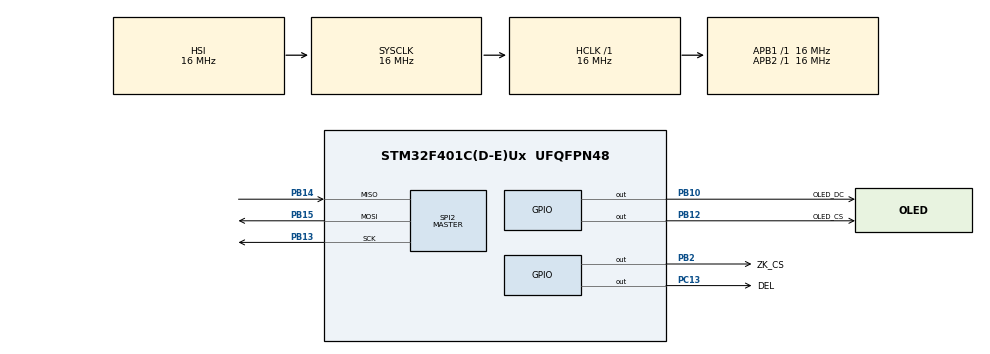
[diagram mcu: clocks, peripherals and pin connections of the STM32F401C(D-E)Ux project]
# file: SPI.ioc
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Mcu.Family=STM32F4
Mcu.Name=STM32F401C(D-E)Ux
Mcu.Package=UFQFPN48
NVIC.PriorityGroup=NVIC_PRIORITYGROUP_4
PB10.GPIO_Label=OLED_DC
PB10.Signal=GPIO_Output
PB12.GPIO_Label=OLED_CS
PB12.Signal=GPIO_Output
PB13.Mode=Full_Duplex_Master
PB13.Signal=SPI2_SCK
PB14.Mode=Full_Duplex_Master
PB14.Signal=SPI2_MISO
PB15.Mode=Full_Duplex_Master
PB15.Signal=SPI2_MOSI
PB2.GPIO_Label=ZK_CS
PB2.Signal=GPIO_Output
PC13-ANTI_TAMP.GPIO_Label=DEL
PC13-ANTI_TAMP.Signal=GPIO_Output
ProjectManager.HeapSize=0x200
ProjectManager.StackSize=0x400
ProjectManager.TargetToolchain=Makefile
RCC.AHBFreq_Value=16000000
RCC.APB1Freq_Value=16000000
RCC.APB2Freq_Value=16000000
RCC.CortexFreq_Value=16000000
RCC.HSE_VALUE=25000000
RCC.HSI_VALUE=16000000
RCC.LSE_VALUE=32768
RCC.SYSCLKFreq_VALUE=16000000
RCC.VCOOutputFreq_Value=192000000
SPI2.Direction=SPI_DIRECTION_2LINES
SPI2.Mode=SPI_MODE_MASTER
SPI2.VirtualType=VM_MASTER
board=custom

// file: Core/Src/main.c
/* USER CODE BEGIN Header */
/**
 ******************************************************************************
 * @file           : main.c
 * @brief          : Main program body
 ******************************************************************************
 * @attention
 *
 * Copyright (c) 2022 STMicroelectronics.
 * All rights reserved.
 *
 * This software is licensed under terms that can be found in the LICENSE file
 * in the root directory of this software component.
 * If no LICENSE file comes with this software, it is provided AS-IS.
 *
 ******************************************************************************
 */
/* USER CODE END Header */
#include "main.h"
#include "spi.h"
#include "gpio.h"

void SystemClock_Config(void);

/* USER CODE BEGIN 0 */
void transmit(uint8_t pData)
{
  HAL_SPI_Transmit(&hspi2, &pData, 8, 100);
}
/* USER CODE END 0 */

int main(void)
{

  /* MCU Configuration--------------------------------------------------------*/

  /* Reset of all peripherals, Initializes the Flash interface and the Systick. */
  HAL_Init();

  /* Configure the system clock */
  SystemClock_Config();

  /* Initialize all configured peripherals */
  MX_GPIO_Init();
  MX_SPI2_Init();
  /* USER CODE BEGIN 2 */
  InitGraph();
  // Resize(bmp,63,64);
  // OLED_FILL(Sbmp);
  OLED_Rect1(0, 0, 127, 63);
  OLED_Circle(25, 32, 20);
  OLED_Circle(25, 32, 3);
  OLED_UpdateScreen();
  /* USER CODE END 2 */

  /* Infinite loop */
  /* USER CODE BEGIN WHILE */
  int i = 0;
  while (1)
  {
    HAL_GPIO_TogglePin(GPIOC, DEL_Pin);
    HAL_Delay(50);
    OLED_ClearScreen();
    OLED_Rect1(0, 0, 127, 63);
    OLED_Circle(25, 32, 20);
    OLED_Circle(25, 32, 3);
    Draw_Point(25, 32, 20, i);
    OLED_Bitmap(80, 30, code0_9[i % 10], 8, 16);
    OLED_Bitmap(72, 30, code0_9[i / 10], 8, 16);
    OLED_UpdateScreen();
    i++;
    if (i >= 100)
    {
      i = 0;
    }
    /* USER CODE END WHILE */

  }
}

void SystemClock_Config(void)
{
  RCC_OscInitTypeDef RCC_OscInitStruct = {0};
  RCC_ClkInitTypeDef RCC_ClkInitStruct = {0};

  /** Configure the main internal regulator output voltage
   */
  __HAL_RCC_PWR_CLK_ENABLE();
  __HAL_PWR_VOLTAGESCALING_CONFIG(PWR_REGULATOR_VOLTAGE_SCALE2);
  /** Initializes the RCC Oscillators according to the specified parameters
   * in the RCC_OscInitTypeDef structure.
   */
  RCC_OscInitStruct.OscillatorType = RCC_OSCILLATORTYPE_HSI;
  RCC_OscInitStruct.HSIState = RCC_HSI_ON;
  RCC_OscInitStruct.HSICalibrationValue = RCC_HSICALIBRATION_DEFAULT;
  RCC_OscInitStruct.PLL.PLLState = RCC_PLL_NONE;
  if (HAL_RCC_OscConfig(&RCC_OscInitStruct) != HAL_OK)
  {
    Error_Handler();
  }
  /** Initializes the CPU, AHB and APB buses clocks
   */
  RCC_ClkInitStruct.ClockType = RCC_CLOCKTYPE_HCLK | RCC_CLOCKTYPE_SYSCLK | RCC_CLOCKTYPE_PCLK1 | RCC_CLOCKTYPE_PCLK2;
  RCC_ClkInitStruct.SYSCLKSource = RCC_SYSCLKSOURCE_HSI;
  RCC_ClkInitStruct.AHBCLKDivider = RCC_SYSCLK_DIV1;
  RCC_ClkInitStruct.APB1CLKDivider = RCC_HCLK_DIV1;
  RCC_ClkInitStruct.APB2CLKDivider = RCC_HCLK_DIV1;

  if (HAL_RCC_ClockConfig(&RCC_ClkInitStruct, FLASH_LATENCY_0) != HAL_OK)
  {
    Error_Handler();
  }
}

void Error_Handler(void)
{
  __disable_irq();
  while (1)
  {
  }
}
